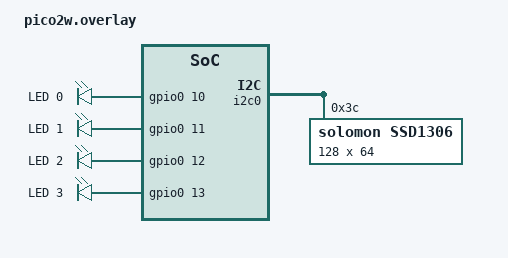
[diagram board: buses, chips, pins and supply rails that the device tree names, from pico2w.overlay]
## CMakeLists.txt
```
cmake_minimum_required(VERSION 3.28.0)
set(BOARD rpi_pico2/rp2350a/m33/w)
find_package(Zephyr REQUIRED HINTS $ENV{ZEPHYR_BASE})
project(wifi_connect)
target_sources(app PRIVATE src/main.c)
```

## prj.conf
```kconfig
CONFIG_GPIO=y
CONFIG_PRINTK=y
CONFIG_CONSOLE=y
CONFIG_STDOUT_CONSOLE=y
CONFIG_NETWORKING=y
CONFIG_WIFI=y
CONFIG_NET_MGMT=y
CONFIG_NET_MGMT_EVENT=y
CONFIG_MAIN_STACK_SIZE=4096
CONFIG_NET_L2_WIFI_MGMT=y

CONFIG_NET_IPV4=y
CONFIG_NET_DHCPV4=y

CONFIG_NET_SOCKETS=y
CONFIG_NET_UDP=y

#added for ssd1306
CONFIG_GPIO=y
CONFIG_I2C=y
CONFIG_SSD1306=y
CONFIG_DISPLAY=y

CONFIG_CHARACTER_FRAMEBUFFER=y

CONFIG_PINCTRL=y
CONFIG_HEAP_MEM_POOL_SIZE=16384

CONFIG_PRINTK=y
CONFIG_CONSOLE=y
CONFIG_STDOUT_CONSOLE=y
```

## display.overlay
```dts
/ {
     chosen {
       zephyr,display = &ssd1306;
     };
};


&i2c0 {
    status = "okay";
    ssd1306: ssd1306@3c {
      	       compatible = "solomon,ssd1306";
	       reg = <0x3c>;
	       height = <64>;
	       width = <128>;
	       segment-offset = <0>;
	       page-offset = <0>;
	       display-offset = <0>;
	       multiplex-ratio = <63>;
	       prechargep = <0x22>;
	       com-invdir;
	       segment-remap;
      };
};
```

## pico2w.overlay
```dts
/ {
     chosen {
       zephyr,display = &ssd1306;
     };
     
     leds {
        compatible = "gpio-leds";
        in1: led_0 {
            gpios = <&gpio0 10 GPIO_ACTIVE_HIGH>;
            label = "LED 0";
        };
        in2: led_1 {
            gpios = <&gpio0 11 GPIO_ACTIVE_HIGH>;
            label = "LED 1";
        };
        in3: led_2 {
            gpios = <&gpio0 12 GPIO_ACTIVE_HIGH>;
            label = "LED 2";
        };
        in4: led_3 {
            gpios = <&gpio0 13 GPIO_ACTIVE_HIGH>;
            label = "LED 3";
        };
    };
        
    aliases {
    
      /* underscore not allowed in alias but in main.c
         its converted to in_1
      */
      in-1 = &in1;
      in-2 = &in2;
      in-3 = &in3;
      in-4 = &in4;
    };
};


&i2c0 {
    status = "okay";
    ssd1306: ssd1306@3c {
      	       compatible = "solomon,ssd1306";
	       reg = <0x3c>;
	       height = <64>;
	       width = <128>;
	       segment-offset = <0>;
	       page-offset = <0>;
	       display-offset = <0>;
	       multiplex-ratio = <63>;
	       prechargep = <0x22>;
	       com-invdir;
	       segment-remap;
      };
};
```

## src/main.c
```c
/*
 * to build:
 *    west build -p -S cdc-acm-console . -DDTC_OVERLAY_FILE=pico2w.overlay
 */

#include <zephyr/kernel.h>
#include <zephyr/sys/printk.h>

#include "ssd1306.h"
#include "wifi_connect.h"
#include "udp_server.h"
#include "motor.h"
                              
int main(void){
  
  printk("starting ssd1306...");
  ssd1306_init();
  motor_init();
  
  printk("starting wifi connect ...");
  ssd1306_set_text("starting wifi connect", 0, 0);
  wifi_connect_init();
  udp_server_start();
  
  return 0;
}
```

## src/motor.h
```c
#ifndef MOTOR_H
#define MOTOR_H

#include <zephyr/kernel.h>
#include <zephyr/drivers/gpio.h>

static const struct gpio_dt_spec in1 = GPIO_DT_SPEC_GET(DT_ALIAS(in_1), gpios);
static const struct gpio_dt_spec in2 = GPIO_DT_SPEC_GET(DT_ALIAS(in_2), gpios);
static const struct gpio_dt_spec in3 = GPIO_DT_SPEC_GET(DT_ALIAS(in_3), gpios);
static const struct gpio_dt_spec in4 = GPIO_DT_SPEC_GET(DT_ALIAS(in_4), gpios);

int motor_init(){

  gpio_pin_configure_dt(&in1, GPIO_OUTPUT);
  gpio_pin_configure_dt(&in2, GPIO_OUTPUT);
  gpio_pin_configure_dt(&in3, GPIO_OUTPUT);
  gpio_pin_configure_dt(&in4, GPIO_OUTPUT);
  
  return 0;
}

void motor_stop(){
  gpio_pin_set_raw(in1.port, in1.pin, 0);
  gpio_pin_set_raw(in2.port, in2.pin, 0);
  gpio_pin_set_raw(in3.port, in3.pin, 0);
  gpio_pin_set_raw(in4.port, in4.pin, 0);
}

void motor_up(){
  gpio_pin_set_raw(in1.port, in1.pin, 1);
  gpio_pin_set_raw(in2.port, in2.pin, 0);
  gpio_pin_set_raw(in3.port, in3.pin, 0);
  gpio_pin_set_raw(in4.port, in4.pin, 1);
}

void motor_down(){
  gpio_pin_set_raw(in1.port, in1.pin, 0);
  gpio_pin_set_raw(in2.port, in2.pin, 1);
  gpio_pin_set_raw(in3.port, in3.pin, 1);
  gpio_pin_set_raw(in4.port, in4.pin, 0);
}

void motor_right(){
  gpio_pin_set_raw(in1.port, in1.pin, 1);
  gpio_pin_set_raw(in2.port, in2.pin, 0);
  gpio_pin_set_raw(in3.port, in3.pin, 1);
  gpio_pin_set_raw(in4.port, in4.pin, 0);
}

void motor_left(){
  gpio_pin_set_raw(in1.port, in1.pin, 0);
  gpio_pin_set_raw(in2.port, in2.pin, 1);
  gpio_pin_set_raw(in3.port, in3.pin, 0);
  gpio_pin_set_raw(in4.port, in4.pin, 1);
}




#endif
```

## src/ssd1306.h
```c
#ifndef SSD1306_H
#define SSD1306_H

#include <zephyr/kernel.h>
#include <zephyr/device.h>
#include <zephyr/drivers/display.h>
#include <zephyr/display/cfb.h>

    const struct device *display_dev;

int ssd1306_init(){
  int ret;
  
    /* Get the display device */
    display_dev = DEVICE_DT_GET(DT_CHOSEN(zephyr_display));
    if (!device_is_ready(display_dev)) {
        printk("Display device not ready!\n");
        return -1;
    }

    /* Initialize Character Framebuffer */
    ret = cfb_framebuffer_init(display_dev);
    if (ret) {
        printk("CFB init failed!\n");
        return -1;
    }

    /* Clear screen and turn on display */
    cfb_framebuffer_clear(display_dev, true);
    display_blanking_off(display_dev);

    /* Set font and print text */
    cfb_framebuffer_set_font(display_dev, 0);
    cfb_print(display_dev, "init...", 0, 0);

    /* Finalize the frame */
    cfb_framebuffer_finalize(display_dev);
    
    return 0;
}

void ssd1306_set_text(const char *const str, int16_t x, int16_t y){
     cfb_framebuffer_clear(display_dev, true);
     cfb_print(display_dev, str, x, y);
     cfb_framebuffer_finalize(display_dev);
}



#endif
```

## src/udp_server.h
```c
/* https://c9sys.com/zephyr-esp32-wifi-udp-communication-en/  */

#include <zephyr/kernel.h>
#include <zephyr/net/socket.h>
#include <zephyr/sys/printk.h>

#include <errno.h>
#include <string.h>

#include "ssd1306.h"
#include "motor.h"

#define UDP_LOCAL_PORT    8001
#define UDP_RX_STACK_SIZE 2048
#define UDP_RX_PRIORITY      5

K_THREAD_STACK_DEFINE(udp_rx_stack, UDP_RX_STACK_SIZE);

static struct k_thread udp_rx_thread_data;
static k_tid_t udp_rx_tid;

static void udp_rx_thread(void *p1, void *p2, void *p3){

  int sock;
  int ret;
  
  struct sockaddr_in local_addr;
  struct sockaddr_in remote_addr;
  
  socklen_t remote_addr_len;
  
  char rx_buffer[128];
  
  ARG_UNUSED(p1);
  ARG_UNUSED(p2);
  ARG_UNUSED(p3);
  
  /* create udp socket */
  sock =zsock_socket(AF_INET, SOCK_DGRAM, IPPROTO_UDP);
  
  if (sock < 0){
    printk("udp rx socket creation failed: %d\n", errno);
    return;
  }
  
  memset(&local_addr, 0, sizeof(local_addr));
  
  local_addr.sin_family = AF_INET;
  local_addr.sin_port = htons(UDP_LOCAL_PORT);
  local_addr.sin_addr.s_addr = htonl(INADDR_ANY);
  
  /* bind socket to local udp port */
  ret = zsock_bind(sock,
                   (struct sockaddr *)&local_addr,
                   sizeof(local_addr));
                   
  if (ret < 0){
    printk("udp rx bind failed: %d\n", errno);
    zsock_close(sock);
    return;
  }
  
  printk("udp rx waiting on port %d...\n", UDP_LOCAL_PORT);
  
  while (1){
    remote_addr_len = sizeof(remote_addr);
    
    ret = zsock_recvfrom(sock,
                         rx_buffer,
                         sizeof(rx_buffer) - 1,
                         0,
                         (struct sockaddr *)&remote_addr,
                         &remote_addr_len);
                         
    if (ret < 0){
      printk("udp rx receive failed: %d\n", errno);
      continue;
    }
    
    rx_buffer[ret] = '\0';
    printk("udp rx received: %s\n", rx_buffer);
    
    if (strcmp(rx_buffer, "stop") == 0) { motor_stop(); }
    else if (strcmp(rx_buffer, "left") == 0) { motor_left(); }
    else if (strcmp(rx_buffer, "right") == 0) { motor_right(); }
    else if (strcmp(rx_buffer, "up") == 0) { motor_up(); }
    else if (strcmp(rx_buffer, "down") == 0) { motor_down(); }
    
    ssd1306_set_text(rx_buffer, 0, 0);
  }
}

/* start upd receive thread */
void udp_server_start(void){

  udp_rx_tid = k_thread_create(&udp_rx_thread_data,
                               udp_rx_stack,
                               K_THREAD_STACK_SIZEOF(udp_rx_stack),
                               udp_rx_thread,
                               NULL,
                               NULL,
                               NULL,
                               UDP_RX_PRIORITY,
                               0,
                               K_NO_WAIT);
                               
  printk("udp rx thread started.\n");
}
  
```

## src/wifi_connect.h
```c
/* https://c9sys.com/zephyr-esp32-wifi-ap-connection-en/  */

#ifndef WIFI_CONNECT_H
#define WIFI_CONNECT

#include <zephyr/kernel.h>
#include <zephyr/net/net_if.h>
#include <zephyr/net/net_mgmt.h>
#include <zephyr/net/wifi_mgmt.h>
#include <zephyr/net/net_ip.h>
#include <zephyr/sys/printk.h>

#include "ssd1306.h"

#define WIFI_SSID     "HOME_SSID"
#define WIFI_PASSWORD "HOME_SSID_PASSWORD"

static struct net_mgmt_event_callback wifi_connect_cb;
static struct net_mgmt_event_callback ipv4_cb;

static void wifi_connect_handler(struct net_mgmt_event_callback *cb,
                                 uint64_t mgmt_event,
                                 struct net_if *iface);
                                 
static void ipv4_addr_handler(struct net_mgmt_event_callback *cb,
                              uint64_t mgmt_event,
                              struct net_if *iface);
                              
int wifi_connect_init(){
  struct net_if *iface;
  struct wifi_connect_req_params params = {0};
  int ret;
  
  printk("pico2w wifi connect test \n");
  
  iface = net_if_get_default();
  
  if (iface == NULL){
    printk("no default network interface found.\n");
    return 0;
  }
  
  /* register wifi connect result callback */
  net_mgmt_init_event_callback(&wifi_connect_cb,
                               wifi_connect_handler,
                               NET_EVENT_WIFI_CONNECT_RESULT);
                               
  net_mgmt_add_event_callback(&wifi_connect_cb);
  
  /* register ipv4 address callback */
  net_mgmt_init_event_callback(&ipv4_cb,
                               ipv4_addr_handler,
                               NET_EVENT_IPV4_ADDR_ADD);
                               
  net_mgmt_add_event_callback(&ipv4_cb);
  
  /* wifi connect params */
  params.ssid = (const uint8_t *)WIFI_SSID;
  params.ssid_length = strlen(WIFI_SSID);
  
  params.psk = (const uint8_t *)WIFI_PASSWORD;
  params.psk_length = strlen(WIFI_PASSWORD);
  
  params.security = WIFI_SECURITY_TYPE_PSK;
  params.channel = WIFI_CHANNEL_ANY;
  
  printk("connecting to wifi ap: %s\n", WIFI_SSID);
  
  /* request wifi connection */
  ret = net_mgmt(NET_REQUEST_WIFI_CONNECT,
                 iface,
                 &params,
                 sizeof(params));
                 
  if (ret != 0){
    printk("wifi connect request failed: %d\n", ret);
  }
  
  return 0;
}

static void wifi_connect_handler(struct net_mgmt_event_callback *cb,
                                 uint64_t mgmt_event,
                                 struct net_if *iface){

  const struct wifi_status *status = (const struct wifi_status *)cb->info;
  
  ARG_UNUSED(mgmt_event);
  ARG_UNUSED(iface);
  
  if (status->status == 0){
    printk("wifi connected successfully.\n");
  } else {
    printk("wifi connection failed: %d\n",status->status);
  }
}

static void ipv4_addr_handler(struct net_mgmt_event_callback *cb,
                              uint64_t mgmt_event,
                              struct net_if *iface){
  struct net_in_addr *addr;
  char addr_str[NET_IPV4_ADDR_LEN];
  
  ARG_UNUSED(cb);
  ARG_UNUSED(mgmt_event);
  
  addr = net_if_ipv4_get_global_addr(iface, NET_ADDR_PREFERRED);
  
  if (addr == NULL){
    printk("ipv4 address not found.\n");
    return;
  }
  
  net_addr_ntop(AF_INET,
                addr,
                addr_str,
                sizeof(addr_str));
                
  /* printk("ipv4 address: %s\n", addr_str); */
  ssd1306_set_text(addr_str, 0, 0);
}

#endif
```
